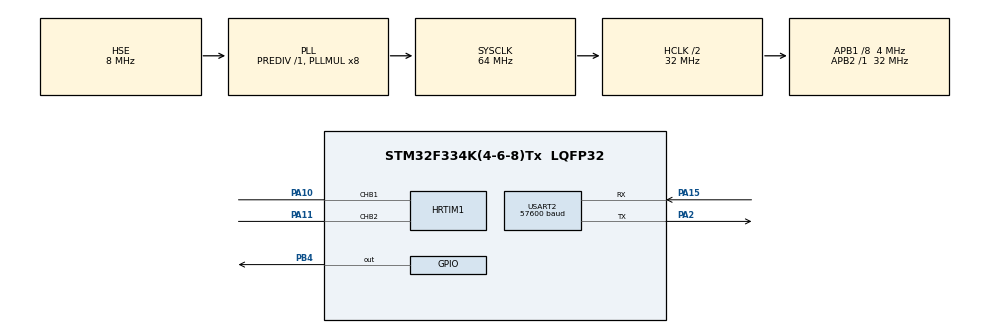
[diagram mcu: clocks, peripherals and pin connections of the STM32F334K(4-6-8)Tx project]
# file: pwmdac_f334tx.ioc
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HRTIM1.InterruptRequests1-Output_TB1TB2=HRTIM_TIM_IT_RST
HRTIM1.NumberInterruptRequests-Output_TB1TB2=1
HRTIM1.PrescalerRatio_TB=HRTIM_PRESCALERRATIO_MUL8
Mcu.Family=STM32F3
Mcu.Name=STM32F334K(4-6-8)Tx
Mcu.Package=LQFP32
NVIC.HRTIM1_TIMB_IRQn=true\:0\:0\:false\:false\:true\:true\:true
NVIC.PriorityGroup=NVIC_PRIORITYGROUP_4
NVIC.USART2_IRQn=true\:0\:0\:false\:false\:true\:true\:true
PA10.Mode=Output_TB1TB2
PA10.Signal=HRTIM1_CHB1
PA11.Mode=Output_TB1TB2
PA11.Signal=HRTIM1_CHB2
PA13.Mode=Trace_Asynchronous_SW
PA13.Signal=SYS_JTMS-SWDIO
PA14.Mode=Trace_Asynchronous_SW
PA14.Signal=SYS_JTCK-SWCLK
PA15.Mode=Asynchronous
PA15.Signal=USART2_RX
PA2.Mode=Asynchronous
PA2.Signal=USART2_TX
PB3.Mode=Trace_Asynchronous_SW
PB3.Signal=SYS_JTDO-TRACESWO
PB4.GPIO_Speed=GPIO_SPEED_FREQ_MEDIUM
PB4.Signal=GPIO_Output
PB6.Signal=I2C1_SCL
PF0\ /\ OSC_IN.Mode=HSE-External-Clock-Source
PF0\ /\ OSC_IN.Signal=RCC_OSC_IN
ProjectManager.HeapSize=0x200
ProjectManager.StackSize=0x400
ProjectManager.TargetToolchain=TrueSTUDIO
RCC.AHBCLKDivider=RCC_SYSCLK_DIV2
RCC.AHBFreq_Value=32000000
RCC.APB1CLKDivider=RCC_HCLK_DIV8
RCC.APB1Freq_Value=4000000
RCC.APB1TimFreq_Value=8000000
RCC.APB2Freq_Value=32000000
RCC.APB2TimFreq_Value=32000000
RCC.CortexFreq_Value=4000000
RCC.Cortex_Div=SYSTICK_CLKSOURCE_HCLK_DIV8
RCC.HCLKFreq_Value=32000000
RCC.HRTIMSelection=RCC_HRTIM1CLK_PLLCLK
RCC.HSE_VALUE=8000000
RCC.HSI_VALUE=8000000
RCC.PLLMUL=RCC_PLL_MUL8
RCC.PLLSourceVirtual=RCC_PLLSOURCE_HSE
RCC.SYSCLKFreq_VALUE=64000000
RCC.SYSCLKSourceVirtual=RCC_SYSCLKSOURCE_PLLCLK
USART2.BaudRate=57600
USART2.VirtualMode-Asynchronous=VM_ASYNC
board=custom

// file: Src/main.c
/* USER CODE BEGIN Header */
/**
  ******************************************************************************
  * @file           : main.c
  * @brief          : Main program body
  ******************************************************************************
  * @attention
  *
  * <h2><center>&copy; Copyright (c) 2019 STMicroelectronics.
  * All rights reserved.</center></h2>
  *
  * This software component is licensed by ST under BSD 3-Clause license,
  * the "License"; You may not use this file except in compliance with the
  * License. You may obtain a copy of the License at:
  *                        opensource.org/licenses/BSD-3-Clause
  *
  ******************************************************************************
  */
/* USER CODE END Header */

#include "main.h"

/* USER CODE BEGIN Includes */
#include "pwm.h"
#include "uart.h"
#include "cmd.h"
/* USER CODE END Includes */

HRTIM_HandleTypeDef hhrtim1;

UART_HandleTypeDef huart2;

/* USER CODE BEGIN PV */
static bool g_tempReport = false;
static uint16_t g_lastTempTick = 0;
/* USER CODE END PV */

void SystemClock_Config(void);
static void MX_GPIO_Init(void);
static void MX_HRTIM1_Init(void);
static void MX_USART2_UART_Init(void);

/* USER CODE BEGIN 0 */

void main_set_tempReport(bool enabled) {
    //g_lastTempTick = systick_get();
    g_tempReport = enabled;
}

/* USER CODE END 0 */

int main(void)
{

  /* MCU Configuration--------------------------------------------------------*/

  /* Reset of all peripherals, Initializes the Flash interface and the Systick. */
  HAL_Init();

  /* Configure the system clock */
  SystemClock_Config();

  /* Initialize all configured peripherals */
  MX_GPIO_Init();
  MX_HRTIM1_Init();
  MX_USART2_UART_Init();
  /* USER CODE BEGIN 2 */
  uart_init(&huart2);
  pwm_init();

  uart_write((uint8_t*)"STM399PWM\n",10);
  /* USER CODE END 2 */

  /* Infinite loop */
  while (1)
  {

    /* USER CODE BEGIN 3 */
	  processCmds();
	  HAL_PWR_EnterSLEEPMode(PWR_MAINREGULATOR_ON,PWR_SLEEPENTRY_WFI);
  }
  /* USER CODE END 3 */
}

void SystemClock_Config(void)
{
  RCC_OscInitTypeDef RCC_OscInitStruct = {0};
  RCC_ClkInitTypeDef RCC_ClkInitStruct = {0};
  RCC_PeriphCLKInitTypeDef PeriphClkInit = {0};

  /** Initializes the CPU, AHB and APB busses clocks
  */
  RCC_OscInitStruct.OscillatorType = RCC_OSCILLATORTYPE_HSE;
  RCC_OscInitStruct.HSEState = RCC_HSE_BYPASS;
  RCC_OscInitStruct.HSEPredivValue = RCC_HSE_PREDIV_DIV1;
  RCC_OscInitStruct.HSIState = RCC_HSI_ON;
  RCC_OscInitStruct.PLL.PLLState = RCC_PLL_ON;
  RCC_OscInitStruct.PLL.PLLSource = RCC_PLLSOURCE_HSE;
  RCC_OscInitStruct.PLL.PLLMUL = RCC_PLL_MUL8;
  if (HAL_RCC_OscConfig(&RCC_OscInitStruct) != HAL_OK)
  {
    Error_Handler();
  }
  /** Initializes the CPU, AHB and APB busses clocks
  */
  RCC_ClkInitStruct.ClockType = RCC_CLOCKTYPE_HCLK|RCC_CLOCKTYPE_SYSCLK
                              |RCC_CLOCKTYPE_PCLK1|RCC_CLOCKTYPE_PCLK2;
  RCC_ClkInitStruct.SYSCLKSource = RCC_SYSCLKSOURCE_PLLCLK;
  RCC_ClkInitStruct.AHBCLKDivider = RCC_SYSCLK_DIV2;
  RCC_ClkInitStruct.APB1CLKDivider = RCC_HCLK_DIV8;
  RCC_ClkInitStruct.APB2CLKDivider = RCC_HCLK_DIV1;

  if (HAL_RCC_ClockConfig(&RCC_ClkInitStruct, FLASH_LATENCY_1) != HAL_OK)
  {
    Error_Handler();
  }
  PeriphClkInit.PeriphClockSelection = RCC_PERIPHCLK_HRTIM1;
  PeriphClkInit.Hrtim1ClockSelection = RCC_HRTIM1CLK_PLLCLK;
  if (HAL_RCCEx_PeriphCLKConfig(&PeriphClkInit) != HAL_OK)
  {
    Error_Handler();
  }
}

static void MX_HRTIM1_Init(void)
{

  HRTIM_TimeBaseCfgTypeDef pTimeBaseCfg = {0};
  HRTIM_TimerCfgTypeDef pTimerCfg = {0};
  HRTIM_OutputCfgTypeDef pOutputCfg = {0};

  hhrtim1.Instance = HRTIM1;
  hhrtim1.Init.HRTIMInterruptResquests = HRTIM_IT_NONE;
  hhrtim1.Init.SyncOptions = HRTIM_SYNCOPTION_NONE;
  if (HAL_HRTIM_Init(&hhrtim1) != HAL_OK)
  {
    Error_Handler();
  }
  if (HAL_HRTIM_DLLCalibrationStart(&hhrtim1, HRTIM_CALIBRATIONRATE_14) != HAL_OK)
  {
    Error_Handler();
  }
  if (HAL_HRTIM_PollForDLLCalibration(&hhrtim1, 10) != HAL_OK)
  {
    Error_Handler();
  }
  pTimeBaseCfg.Period = 0xFFF7;
  pTimeBaseCfg.RepetitionCounter = 0x00;
  pTimeBaseCfg.PrescalerRatio = HRTIM_PRESCALERRATIO_MUL8;
  pTimeBaseCfg.Mode = HRTIM_MODE_CONTINUOUS;
  if (HAL_HRTIM_TimeBaseConfig(&hhrtim1, HRTIM_TIMERINDEX_TIMER_B, &pTimeBaseCfg) != HAL_OK)
  {
    Error_Handler();
  }
  pTimerCfg.InterruptRequests = HRTIM_TIM_IT_RST;
  pTimerCfg.DMARequests = HRTIM_TIM_DMA_NONE;
  pTimerCfg.DMASrcAddress = 0x0000;
  pTimerCfg.DMADstAddress = 0x0000;
  pTimerCfg.DMASize = 0x1;
  pTimerCfg.HalfModeEnable = HRTIM_HALFMODE_DISABLED;
  pTimerCfg.StartOnSync = HRTIM_SYNCSTART_DISABLED;
  pTimerCfg.ResetOnSync = HRTIM_SYNCRESET_DISABLED;
  pTimerCfg.DACSynchro = HRTIM_DACSYNC_NONE;
  pTimerCfg.PreloadEnable = HRTIM_PRELOAD_DISABLED;
  pTimerCfg.UpdateGating = HRTIM_UPDATEGATING_INDEPENDENT;
  pTimerCfg.BurstMode = HRTIM_TIMERBURSTMODE_MAINTAINCLOCK;
  pTimerCfg.RepetitionUpdate = HRTIM_UPDATEONREPETITION_DISABLED;
  pTimerCfg.PushPull = HRTIM_TIMPUSHPULLMODE_DISABLED;
  pTimerCfg.FaultEnable = HRTIM_TIMFAULTENABLE_NONE;
  pTimerCfg.FaultLock = HRTIM_TIMFAULTLOCK_READWRITE;
  pTimerCfg.DeadTimeInsertion = HRTIM_TIMDEADTIMEINSERTION_DISABLED;
  pTimerCfg.DelayedProtectionMode = HRTIM_TIMER_A_B_C_DELAYEDPROTECTION_DISABLED;
  pTimerCfg.UpdateTrigger = HRTIM_TIMUPDATETRIGGER_NONE;
  pTimerCfg.ResetTrigger = HRTIM_TIMRESETTRIGGER_NONE;
  pTimerCfg.ResetUpdate = HRTIM_TIMUPDATEONRESET_DISABLED;
  if (HAL_HRTIM_WaveformTimerConfig(&hhrtim1, HRTIM_TIMERINDEX_TIMER_B, &pTimerCfg) != HAL_OK)
  {
    Error_Handler();
  }
  pOutputCfg.Polarity = HRTIM_OUTPUTPOLARITY_HIGH;
  pOutputCfg.SetSource = HRTIM_OUTPUTSET_NONE;
  pOutputCfg.ResetSource = HRTIM_OUTPUTRESET_NONE;
  pOutputCfg.IdleMode = HRTIM_OUTPUTIDLEMODE_NONE;
  pOutputCfg.IdleLevel = HRTIM_OUTPUTIDLELEVEL_INACTIVE;
  pOutputCfg.FaultLevel = HRTIM_OUTPUTFAULTLEVEL_NONE;
  pOutputCfg.ChopperModeEnable = HRTIM_OUTPUTCHOPPERMODE_DISABLED;
  pOutputCfg.BurstModeEntryDelayed = HRTIM_OUTPUTBURSTMODEENTRY_REGULAR;
  if (HAL_HRTIM_WaveformOutputConfig(&hhrtim1, HRTIM_TIMERINDEX_TIMER_B, HRTIM_OUTPUT_TB1, &pOutputCfg) != HAL_OK)
  {
    Error_Handler();
  }
  if (HAL_HRTIM_WaveformOutputConfig(&hhrtim1, HRTIM_TIMERINDEX_TIMER_B, HRTIM_OUTPUT_TB2, &pOutputCfg) != HAL_OK)
  {
    Error_Handler();
  }
  HAL_HRTIM_MspPostInit(&hhrtim1);

}

static void MX_USART2_UART_Init(void)
{

  huart2.Instance = USART2;
  huart2.Init.BaudRate = 57600;
  huart2.Init.WordLength = UART_WORDLENGTH_8B;
  huart2.Init.StopBits = UART_STOPBITS_1;
  huart2.Init.Parity = UART_PARITY_NONE;
  huart2.Init.Mode = UART_MODE_TX_RX;
  huart2.Init.HwFlowCtl = UART_HWCONTROL_NONE;
  huart2.Init.OverSampling = UART_OVERSAMPLING_16;
  huart2.Init.OneBitSampling = UART_ONE_BIT_SAMPLE_DISABLE;
  huart2.AdvancedInit.AdvFeatureInit = UART_ADVFEATURE_NO_INIT;
  if (HAL_UART_Init(&huart2) != HAL_OK)
  {
    Error_Handler();
  }

}

static void MX_GPIO_Init(void)
{
  GPIO_InitTypeDef GPIO_InitStruct = {0};

  /* GPIO Ports Clock Enable */
  __HAL_RCC_GPIOF_CLK_ENABLE();
  __HAL_RCC_GPIOA_CLK_ENABLE();
  __HAL_RCC_GPIOB_CLK_ENABLE();

  /*Configure GPIO pin Output Level */
  HAL_GPIO_WritePin(GPIOB, GPIO_PIN_4, GPIO_PIN_RESET);

  /*Configure GPIO pin : PB4 */
  GPIO_InitStruct.Pin = GPIO_PIN_4;
  GPIO_InitStruct.Mode = GPIO_MODE_OUTPUT_PP;
  GPIO_InitStruct.Pull = GPIO_NOPULL;
  GPIO_InitStruct.Speed = GPIO_SPEED_FREQ_MEDIUM;
  HAL_GPIO_Init(GPIOB, &GPIO_InitStruct);

  /*Configure GPIO pin : PB6 */
  GPIO_InitStruct.Pin = GPIO_PIN_6;
  GPIO_InitStruct.Mode = GPIO_MODE_AF_OD;
  GPIO_InitStruct.Pull = GPIO_PULLUP;
  GPIO_InitStruct.Speed = GPIO_SPEED_FREQ_HIGH;
  GPIO_InitStruct.Alternate = GPIO_AF4_I2C1;
  HAL_GPIO_Init(GPIOB, &GPIO_InitStruct);

}

void Error_Handler(void)
{
  /* USER CODE BEGIN Error_Handler_Debug */
  /* User can add his own implementation to report the HAL error return state */
	while(1)
		;
  /* USER CODE END Error_Handler_Debug */
}

#ifdef  USE_FULL_ASSERT
/**
  * @brief  Reports the name of the source file and the source line number
  *         where the assert_param error has occurred.
  * @param  file: pointer to the source file name
  * @param  line: assert_param error line source number
  * @retval None
  */
void assert_failed(char *file, uint32_t line)
{
  /* USER CODE BEGIN 6 */
  /* User can add his own implementation to report the file name and line number,
     tex: printf("Wrong parameters value: file %s on line %d\r\n", file, line) */
	while(true)
 		;
  /* USER CODE END 6 */
}
#endif /* USE_FULL_ASSERT */

/************************ (C) COPYRIGHT STMicroelectronics *****END OF FILE****/
